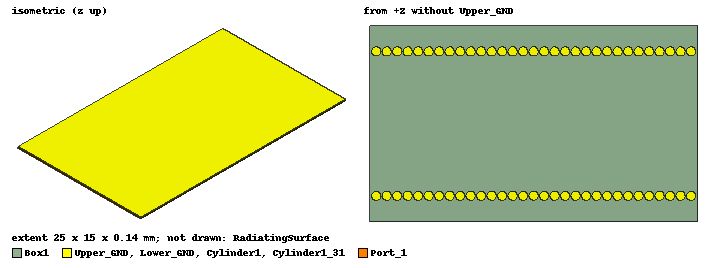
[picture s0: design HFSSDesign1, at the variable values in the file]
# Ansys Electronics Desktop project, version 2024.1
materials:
  vacuum: permittivity=1
  Rogers RO3003 (tm): permittivity=3 dielectric_loss_tangent=0.0013
  copper: permeability=0.999991 conductivity=58000000

design HFSSDesign1 (HFSS, HFSS Terminal Network, model units mm)
options: Allow_Material_Override Calculate_Lossy_Dielectrics
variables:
  a = 15mm
  WG_length = 25mm
  copper_thick = 20um
  a_s = 11mm
  sub_thick = 0.1mm
  pitch = 0.8mm
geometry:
  Box1 [Rogers RO3003 (tm)] = box(corner=(-WG_length/2, -a/2, 0mm), size=(WG_length, a, 0.1mm))
  Upper_GND, Lower_GND [copper] = object_from(Box1.face(+z, -z))
  [Upper_GND, Lower_GND].thicken(copper_thick)
  Cylinder1 [copper] = cylinder(axis=Z, base_centre=(WG_length/2-0.5mm, a_s/2, 0mm), radius=(0.7/2) mm, height=sub_thick)
  RadiatingSurface [vacuum] = region(absolute_offset: +X=0mm, -X=0mm, +Y=10mm, -Y=10mm, +Z=10mm, -Z=10mm)
  Port_1 = rectangle(corner=(WG_length/2, -a_s/2-1mm, 0.1mm), y_size=a_s+2mm, z_size=-0.1mm)
  Port_2 = Port_1.duplicate_along_line(step=(-WG_length, 0mm, 0mm), total=2)
  Cylinder1_1..Cylinder1_30 = Cylinder1.duplicate_along_line(step=(-pitch, 0mm, 0mm), total=31)
  Cylinder1.unite(Cylinder1_1..Cylinder1_30)
  Cylinder1_31 [copper] = Cylinder1.duplicate_along_line(step=(0mm, -a_s, 0mm), total=2)
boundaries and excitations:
  Open1: Radiation Objects=RadiatingSurface
  1: Wave Port Objects=Port_1 WavePortType=Modal NumModes=4 Modes{Mode1{CharImp=Zpi} Mode2{CharImp=Zpi} Mode3{CharImp=Zpi} Mode4{CharImp=Zpi}}
  2: Wave Port Objects=Port_2 WavePortType=Modal NumModes=4 Modes{Mode1{CharImp=Zpi} Mode2{CharImp=Zpi} Mode3{CharImp=Zpi} Mode4{CharImp=Zpi}}
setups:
  Setup1: HfssDriven MultipleAdaptiveFreqsSetup{AdaptAt{Frequency=5GHz Delta=0.02} AdaptAt{Frequency=15GHz Delta=0.02} AdaptAt{Frequency=35GHz Delta=0.02}} MaximumPasses=6 MinimumPasses=1 MinimumConvergedPasses=1 PercentRefinement=30 BasisOrder=1 PortAccuracy=2 DrivenSolverType="Direct Solver"
    sweep Sweep: 0GHz to 50GHz, 401 points; Type=Interpolating InterpTolerance=0.5 InterpMaxSolns=250 MinSolvedFreq=0.01GHz PassivityErrorTolerance=0.0001
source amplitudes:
  1:1: 1W 0deg
  1:2, 1:3, 1:4, 2:1..2:4: 0W 0deg
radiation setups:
  3D: Infinite Sphere Theta=0deg..180deg step 2deg Phi=-180deg..180deg step 2deg
  Elevation: Infinite Sphere Theta=-180deg..180deg step 1deg Phi=0deg..90deg step 90deg
  Azimuth: Infinite Sphere Theta=90deg..90deg step 0deg Phi=-180deg..180deg step 1deg
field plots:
  Mag_E1: E Field in Box1 on Setup1 : LastAdaptive at Freq=15GHz Phase=0deg
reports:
  Gamma Plot 1: im(Gamma(1:1)), im(Gamma(1:2)), im(Gamma(1:3)), im(Gamma(1:4)), im(Gamma(2:1)), im(Gamma(2:2)), im(Gamma(2:3)), im(Gamma(2:4)) vs Freq on Setup1 : Sweep; markers m1 at 6.625GHz, m2 at 13.25GHz, m3 at 19.875GHz, m4 at 26.125GHz
  S Parameter Plot 1: dB(S(1:1,1:1)), dB(S(2:1,2:1)) vs Freq on Setup1 : Sweep; markers m1 at 10GHz
  Port Zo Plot 1: re(Zo(1:1)) vs Freq on Setup1 : Sweep; markers m1 at 10GHz
  Terminal Group Delay Plot 1: GroupDelay(2:1,1:1) vs Freq on Setup1 : Sweep [Freq=10GHz,10.125GHz,10.25GHz,10.375GHz,10.5GHz,10.625GHz,10.75GHz,10.875GHz,11GHz,11.125GHz,11.25GHz,11.375GHz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]
  Terminal S Parameter Chart 1: St(1:1,1:1) on Setup1 : Sweep [Freq=all]
  S Parameter Plot 2: dB(S(2:1,1:1)) vs Freq on Setup1 : Sweep; markers m1 at 10GHz
